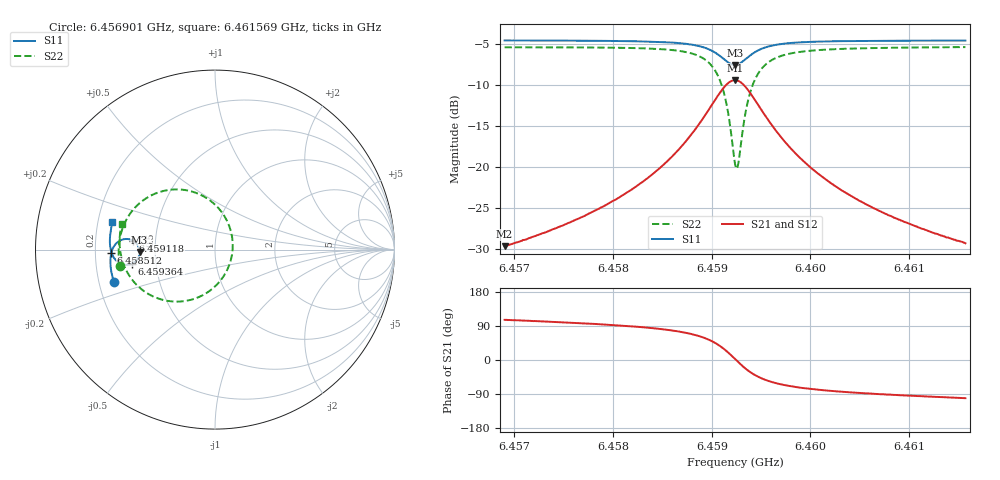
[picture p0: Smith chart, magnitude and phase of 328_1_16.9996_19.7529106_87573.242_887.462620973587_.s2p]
#  HZ  S  RI  R  50.00
! Rohde & Schwarz Vector Network Analyzer
! Rohde-Schwarz,ZNB20-2Port,1311601062101988,3.16
! Created: UTC 3/20/2024, 11:06:47 PM
! freq[Hz]  re:S11  im:S11  re:S21  im:S21  re:S12  im:S12  re:S22  im:S22
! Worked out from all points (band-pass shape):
!   401 points, 6.456901 GHz to 6.461569 GHz, reference 50 ohm
!   highest |S21| = -9.38 dB at 6.459235 GHz (marker M1); lowest = -29.6 dB at 6.456901 GHz (marker M2)
!   |S21| within 3 dB of the highest: 6.459002 GHz to 6.459468 GHz (466.5 kHz wide, 0.00722 % of centre)
!   lowest |S11| = -7.5 dB at 6.459235 GHz (marker M3), VSWR 2.45, Z = 20.4 - j0.633 ohm
!   |S11| at or under -10 dB: nowhere
!   |S22| runs from -20.1 to -5.4 dB; largest |S21 - S12| = 0.013
!   S11 on the Smith chart (normalised r, x): 6.456901 GHz: 0.26, -0.14; 6.458512 GHz: 0.27, -0.02; 6.459118 GHz: 0.37, +0.05; 6.459364 GHz: 0.37, -0.07; 6.461569 GHz: 0.26, +0.12
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6.4569011e9  -0.5648 -0.1781  -0.00911 0.0319  -0.00743 0.0317  -0.5305 -0.0904
6.457683e9  -0.5796 -0.11  -0.00601 0.0494  -0.00346 0.0489  -0.5368 -0.000324
6.4581031e9  -0.583 -0.0683  -0.000526 0.0681  0.00275 0.0667  -0.5299 0.0646
6.4584649e9  -0.5795 -0.0255  0.0133 0.0972  0.0172 0.0945  -0.5052 0.144
6.4585116e9  -0.5783 -0.0193  0.0165 0.1025  0.0206 0.0996  -0.4991 0.1569
6.4587217e9  -0.5664 0.0127  0.0421 0.1338  0.0462 0.1292  -0.4514 0.2279
6.4588734e9  -0.5454 0.039  0.0839 0.164  0.0874 0.1575  -0.3744 0.2914
6.4590251e9  -0.4999 0.0589  0.1745 0.1831  0.1756 0.1758  -0.2099 0.3353
6.4591185e9  -0.4558 0.0491  0.2631 0.1528  0.2634 0.1468  -0.0467 0.2868
6.4591651e9  -0.4348 0.0306  0.3062 0.1109  0.3074 0.1055  0.0348 0.2124
6.4592352e9  -0.4199 -0.0128  0.3393 0.0157  0.3429 0.00857  0.0985 0.0366
6.4592468e9  -0.4203 -0.0207  0.3394 -0.00171  0.3428 -0.00945  0.0984 0.0039
6.4592702e9  -0.4236 -0.0361  0.3339 -0.036  0.3375 -0.045  0.0877 -0.0604
6.4593285e9  -0.4441 -0.0669  0.2966 -0.1069  0.2979 -0.1191  0.0125 -0.193
6.4593635e9  -0.4608 -0.0779  0.265 -0.1356  0.264 -0.1484  -0.0511 -0.2443
6.4594569e9  -0.5036 -0.0848  0.1818 -0.1666  0.1757 -0.1778  -0.2157 -0.2898
6.4596086e9  -0.547 -0.0643  0.0954 -0.1534  0.0871 -0.1594  -0.3797 -0.242
6.459772e9  -0.5684 -0.0368  0.0512 -0.1262  0.0437 -0.1289  -0.4585 -0.1717
6.4600171e9  -0.581 -0.00123  0.0223 -0.0953  0.0166 -0.096  -0.5059 -0.0907
6.4603789e9  -0.5857 0.0412  0.00611 -0.0686  0.00223 -0.068  -0.5274 -0.0105
6.460799e9  -0.5838 0.083  -0.00135 -0.0509  -0.00394 -0.0501  -0.5312 0.0552
6.4615693e9  -0.5715 0.1511  -0.00644 -0.0339  -0.00799 -0.0331  -0.5198 0.1448
